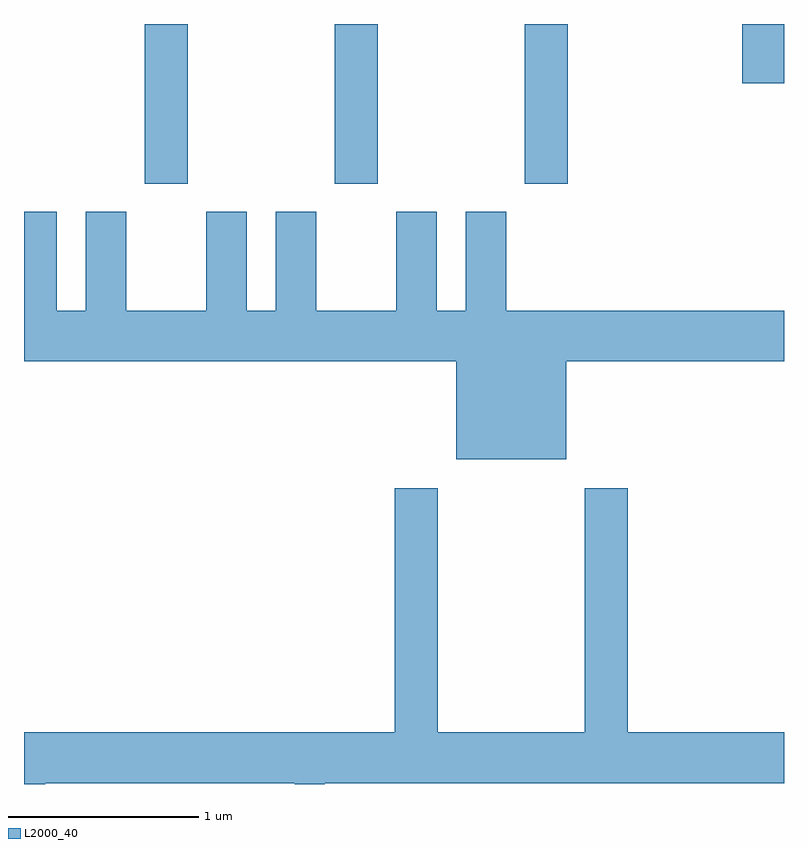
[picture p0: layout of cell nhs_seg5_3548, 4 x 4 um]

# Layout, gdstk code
import gdstk
lib = gdstk.Library(unit=1e-6, precision=1e-09)
def R(c, l, rs):  # rectangles x0, y0, x1, y1
    for r in rs: c.add(gdstk.rectangle(r[:2], r[2:], *l))
def A(c, l, x, y, w, h, nx, ny, dx, dy):  # array of equal rectangles
    R(c, l, [(x+i*dx, y+j*dy, x+i*dx+w, y+j*dy+h) for i in range(nx) for j in range(ny)])
def P(c, l, *ps):  # polygons
    for p in ps: c.add(gdstk.Polygon(p, *l))
L2000_40 = (2000, 40)

nhs_seg5_3548 = lib.new_cell('nhs_seg5_3548')
A(nhs_seg5_3548, L2000_40, 290.246, 1513.231, 0.228, 0.841, 3, 1, 1, 0)
R(nhs_seg5_3548, L2000_40, [(293.391,1513.761,293.611,1514.072)])
P(nhs_seg5_3548, L2000_40, [(291.784,1513.084),(291.571,1513.084),(291.571,1512.564),(291.149,1512.564),(291.149,1513.084),(290.936,1513.084),(290.936,1512.564),(290.784,1512.564),(290.784,1513.084),(290.571,1513.084),(290.571,1512.564),(290.149,1512.564),(290.149,1513.084),(289.936,1513.084),(289.936,1512.564),(289.784,1512.564),(289.784,1513.084),(289.611,1513.084),(289.611,1512.296),(291.886,1512.296),(291.886,1511.781),(292.464,1511.781),(292.464,1512.296),(293.611,1512.296),(293.611,1512.564),(292.149,1512.564),(292.149,1513.084),(291.936,1513.084),(291.936,1512.564),(291.784,1512.564)],
  [(289.724,1510.076),(291.036,1510.076),(291.036,1510.072),(291.194,1510.072),(291.194,1510.076),(293.611,1510.076),(293.611,1510.344),(292.789,1510.344),(292.789,1511.629),(292.561,1511.629),(292.561,1510.344),(291.789,1510.344),(291.789,1511.629),(291.561,1511.629),(291.561,1510.344),(289.611,1510.344),(289.611,1510.072),(289.724,1510.072)])

lib.write_gds('nhs_seg5_3548.gds')
